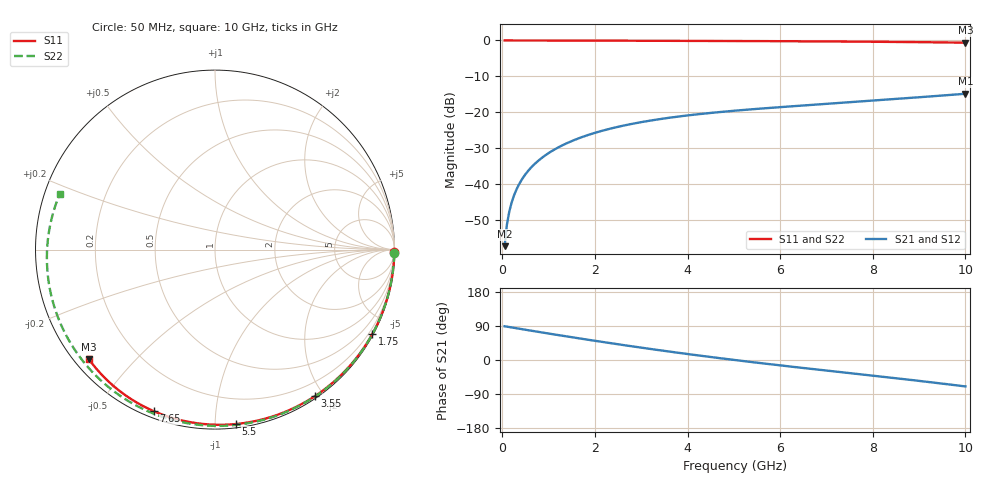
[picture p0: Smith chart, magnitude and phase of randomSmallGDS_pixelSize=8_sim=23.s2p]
! freq	dB(S11)	phase(S11)	dB(S12)	phase(S12)
!  dB(S21)	phase(S21)	dB(S22)	phase(S22)
!S-par simulation data
#  GHz  S  DB  R 50
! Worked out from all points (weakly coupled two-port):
!   200 points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, 50 MHz to 10 GHz, reference 50 ohm
!   highest |S21| = -14.82 dB at 10 GHz (marker M1); lowest = -57.2 dB at 50 MHz (marker M2)
!   lowest |S11| = -0.6 dB at 10 GHz (marker M3), VSWR 27.83, Z = 2.05 - j18.6 ohm
!   |S11| at or under -10 dB: nowhere
!   |S22| runs from -0.7 to 0.0 dB; largest |S21 - S12| = 0
!   S11 on the Smith chart (normalised r, x): 50 MHz: open; 1.75 GHz: 0.04, -3.99; 3.55 GHz: 0.03, -1.89; 5.5 GHz: 0.02, -1.13; 7.65 GHz: 0.03, -0.69; 10 GHz: 0.04, -0.37
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0.05  -0.01 -0.8  -57.17 89.0  -57.17 89.0  -0.00 -1.2
0.1  -0.01 -1.6  -51.15 88.0  -51.15 88.0  -0.01 -2.3
0.15  -0.01 -2.4  -47.63 87.0  -47.63 87.0  -0.01 -3.5
0.2  -0.01 -3.3  -45.13 86.0  -45.13 86.0  -0.01 -4.7
0.25  -0.01 -4.1  -43.19 85.0  -43.19 85.0  -0.01 -5.9
0.35  -0.01 -5.7  -40.27 82.9  -40.27 82.9  -0.01 -8.3
0.5  -0.01 -8.1  -37.19 79.8  -37.19 79.8  -0.02 -11.9
0.7  -0.02 -11.4  -34.32 75.8  -34.32 75.8  -0.02 -16.6
1  -0.02 -16.2  -31.30 69.8  -31.30 69.8  -0.03 -23.6
1.35  -0.03 -21.8  -28.82 63.0  -28.82 63.0  -0.05 -31.7
1.75  -0.04 -28.2  -26.73 55.4  -26.73 55.4  -0.06 -40.8
2.6  -0.07 -41.4  -23.72 39.7  -23.72 39.7  -0.09 -59.6
3.4  -0.10 -53.4  -21.87 25.7  -21.87 25.7  -0.13 -76.4
3.55  -0.10 -55.6  -21.59 23.2  -21.59 23.2  -0.13 -79.5
4.3  -0.13 -66.5  -20.41 11.0  -20.41 11.0  -0.17 -94.4
5.05  -0.16 -77.0  -19.49 -0.5  -19.49 -0.5  -0.21 -108.7
5.5  -0.19 -83.1  -19.02 -7.1  -19.02 -7.1  -0.24 -117.0
6.7  -0.26 -98.8  -17.91 -23.8  -17.91 -23.8  -0.32 -138.7
7.65  -0.33 -110.8  -17.07 -36.6  -17.07 -36.6  -0.41 -155.6
8.35  -0.40 -119.3  -16.43 -46.1  -16.43 -46.1  -0.49 -168.2
9.2  -0.50 -129.6  -15.61 -57.9  -15.61 -57.9  -0.61 175.9
10  -0.62 -139.1  -14.82 -69.8  -14.82 -69.8  -0.74 160.2
